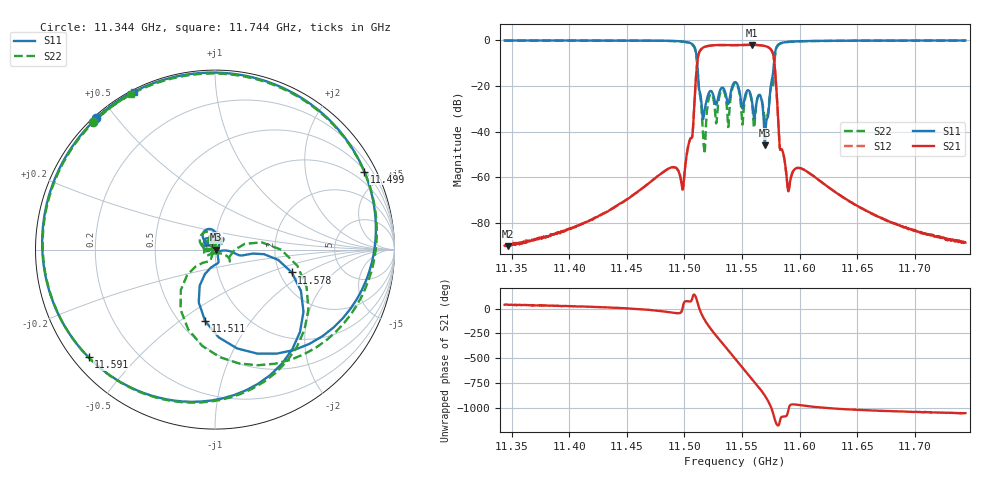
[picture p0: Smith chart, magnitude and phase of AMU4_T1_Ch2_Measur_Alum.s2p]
#  HZ  S  RI  R  50.00
! Rohde & Schwarz ZVA50 2Ports - Version 3.70 - 1145.1110k50 SN: 100192
! Date: 2025-07-25 13:03:00
! Measurements: S11 S21 S12 S22
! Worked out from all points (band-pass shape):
!   1001 points, 11.344 GHz to 11.744 GHz, reference 50 ohm
!   highest |S21| = -2.01 dB at 11.559 GHz (marker M1); lowest = -90.0 dB at 11.347 GHz (marker M2)
!   |S21| within 3 dB of the highest: 11.513 GHz to 11.576 GHz (63.1 MHz wide, 0.547 % of centre)
!   lowest |S11| = -46.0 dB at 11.57 GHz (marker M3), VSWR 1.01, Z = 50.5 + j0.0247 ohm
!   |S11| at or under -10 dB: 11.511 GHz to 11.578 GHz (66.66 MHz wide, 0.577 % of centre)
!   |S22| runs from -49.7 to -0.1 dB; largest |S21 - S12| = 0.00045
!   S11 on the Smith chart (normalised r, x): 11.344 GHz: 0.01, +0.44; 11.499 GHz: 0.55, +4.00; 11.511 GHz: 0.66, -0.63; 11.578 GHz: 2.33, -0.74; 11.591 GHz: 0.04, -0.37; 11.744 GHz: 0.01, +0.61
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1.1344e10  -0.6622 0.7331  2.46e-05 2.06e-05  2.46e-05 1.95e-05  -0.6787 0.7113
1.13468e10  -0.6539 0.7406  2.43e-05 2.01e-05  2.47e-05 2.08e-05  -0.67 0.7195
1.14108e10  -0.3945 0.9068  8.83e-05 3.54e-05  8.78e-05 3.43e-05  -0.3956 0.9007
1.14776e10  0.2959 0.9342  0.00103 -0.000407  0.00102 -0.000409  0.3534 0.9071
1.14988e10  0.8319 0.4347  0.000514 0.000216  0.000505 0.0002  0.8782 0.2945
1.15108e10  -0.0553 -0.3978  0.00278 0.2537  0.00276 0.2538  -0.1917 -0.334
1.15172e10  0.0216 0.0133  -0.1718 -0.6857  -0.1717 -0.6858  0.00401 -0.00136
1.1522e10  0.038 0.065  -0.7509 0.119  -0.7511 0.119  0.0122 0.0609
1.15272e10  0.0159 0.037  -0.0447 0.7814  -0.0448 0.7816  0.0119 0.0152
1.15344e10  0.0108 0.0852  0.7793 -0.1042  0.7794 -0.104  0.00672 0.077
1.1544e10  -0.0498 0.1107  -0.6262 -0.4661  -0.626 -0.4662  -0.0716 0.0874
1.1552e10  -0.0419 0.0245  -0.1875 0.7683  -0.1877 0.7684  -0.0395 -0.000587
1.15588e10  -0.0153 0.0423  0.7815 0.1375  0.7815 0.1377  -0.0201 0.0344
1.15648e10  -0.0625 0.00525  0.1995 -0.7549  0.1997 -0.7549  -0.0578 -0.026
1.157e10  0.00502 0.000245  -0.6957 -0.273  -0.6957 -0.2733  -0.013 -0.0121
1.15744e10  0.0684 -0.00588  -0.2197 0.6216  -0.2199 0.6216  0.0615 -0.0324
1.15784e10  0.4278 -0.1272  0.2455 -0.1469  0.2456 -0.1469  0.3687 -0.000547
1.15832e10  -0.0769 -0.8466  0.00309 -0.00261  0.00308 -0.00261  0.0222 -0.839
1.15908e10  -0.7047 -0.5997  6.58e-05 0.000547  6.83e-05 0.000543  -0.6456 -0.6556
1.16108e10  -0.9628 0.0448  -3.23e-05 0.00113  -3.17e-05 0.00113  -0.9585 -0.022
1.16776e10  -0.6982 0.6935  7.44e-05 8.07e-05  7.66e-05 8.07e-05  -0.7214 0.6618
1.1744e10  -0.4493 0.8806  3.38e-05 1.67e-05  3.46e-05 1.71e-05  -0.4681 0.8657
